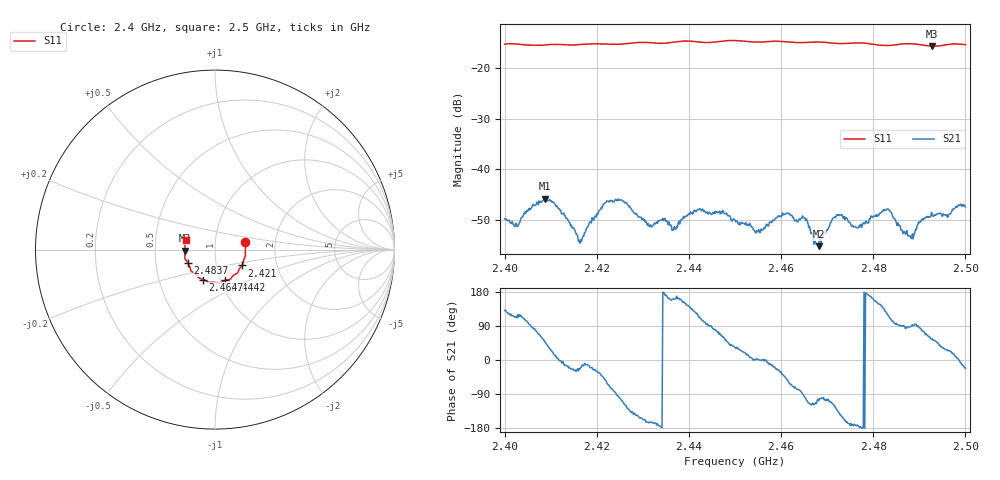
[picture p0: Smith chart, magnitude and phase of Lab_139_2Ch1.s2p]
# Hz S RI R 50
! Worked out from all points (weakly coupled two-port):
!   601 points, 2.4 GHz to 2.5 GHz, reference 50 ohm
!   highest |S21| = -45.85 dB at 2.4087 GHz (marker M1); lowest = -55.3 dB at 2.4682 GHz (marker M2)
!   lowest |S11| = -15.6 dB at 2.4928 GHz (marker M3), VSWR 1.40, Z = 35.8 - j0.377 ohm
!   |S11| at or under -10 dB: start of sweep to end of sweep
!   S12 and S22 are empty: the file has one direction only
!   S11 on the Smith chart (normalised r, x): 2.4 GHz: 1.40, +0.12; 2.421 GHz: 1.33, -0.24; 2.4442 GHz: 1.05, -0.37; 2.4647 GHz: 0.83, -0.29; 2.4837 GHz: 0.73, -0.11; 2.5 GHz: 0.72, +0.08
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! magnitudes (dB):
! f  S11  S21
! 2.4 GHz  -15.2  -49.9
! 2.4027 GHz  -15.2  -51.4
! 2.4087 GHz  -15.4  -45.9
! 2.4167 GHz  -15.3  -54.4
! 2.421 GHz  -15.2  -47.6
! 2.4252 GHz  -15.2  -46.1
! 2.4333 GHz  -15.0  -50.3
! 2.4368 GHz  -14.8  -51.4
! 2.4442 GHz  -14.9  -48.9
! 2.45 GHz  -14.5  -50.1
! 2.455 GHz  -14.8  -52.4
! 2.4608 GHz  -14.7  -49.0
! 2.4647 GHz  -14.9  -49.3
! 2.4667 GHz  -14.8  -52.6
! 2.4682 GHz  -14.8  -55.3
! 2.472 GHz  -15.1  -49.3
! 2.4767 GHz  -15.0  -51.6
! 2.4833 GHz  -15.5  -47.9
! 2.4837 GHz  -15.5  -48.4
! 2.4882 GHz  -15.1  -53.7
! 2.4928 GHz  -15.6  -49.2
! 2.5 GHz  -15.3  -47.5
